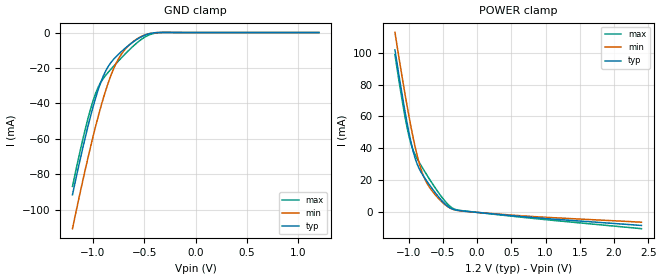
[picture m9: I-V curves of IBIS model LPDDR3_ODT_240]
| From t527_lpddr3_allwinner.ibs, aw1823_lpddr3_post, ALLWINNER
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|   Model LPDDR3_ODT_240
[Model] LPDDR3_ODT_240
Model_type Input
Polarity   Non-Inverting
Vinl =  0.600V
Vinh =  0.600V
C_comp   1.939pF   1.892pF   2.003pF
C_comp_pullup   1.212pF   1.197pF   1.215pF
C_comp_pulldown   0.607pF   0.489pF   0.772pF
[Model Spec]
Vinh   0.600V   0.570V   0.630V
Vinl   0.600V   0.570V   0.630V
[Temperature Range]   25.000   0.125k   -40.000
[Voltage Range]   1.200V   1.140V   1.260V
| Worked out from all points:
|   GND clamp passes 1 mA (typ) near -0.47 V on its own axis
|   POWER clamp passes 1 mA (typ) near -0.23 V on its own axis
[GND_clamp]
|Voltage   I(typ)   I(min)   I(max)
-1.2V     -91.49mA   -110.6mA   -86.77mA
-1.125V   -71.52mA   -90.2mA    -66.7mA
-1.05V    -53.08mA   -70.88mA   -48.66mA
-975mV    -36.96mA   -52.98mA   -34.38mA
-925mV    -28.16mA   -42.12mA   -28.11mA
-850mV    -18.92mA   -28.03mA   -22.27mA
-775mV    -13.55mA   -17.36mA   -17.44mA
-700mV    -9.509mA   -10.33mA   -12.85mA
-625mV    -5.968mA   -5.852mA   -8.558mA
-475mV    -1.026mA   -962.1uA   -1.887mA
-350mV    47.59uA    56.41uA    -56.39uA
1.2V      0A         0A         0A
[POWER_clamp]
|Voltage   I(typ)   I(min)   I(max)
-1.2V     101.6mA    112.6mA    98.64mA
-1.075V   68.41mA    79.44mA    65.04mA
-1V       50.83mA    61.15mA    48.53mA
-925mV    36.71mA    44.78mA    37.86mA
-850mV    27.7mA     31.35mA    31.58mA
-775mV    22.1mA     21.93mA    26.21mA
-700mV    17.42mA    15.98mA    21.06mA
-575mV    10.32mA    9.209mA    13.01mA
-450mV    4.512mA    4.179mA    6.078mA
-350mV    1.908mA    1.856mA    2.421mA
-250mV    1.079mA    968uA      1.233mA
2.4V      -8.175mA   -6.131mA   -10.19mA
